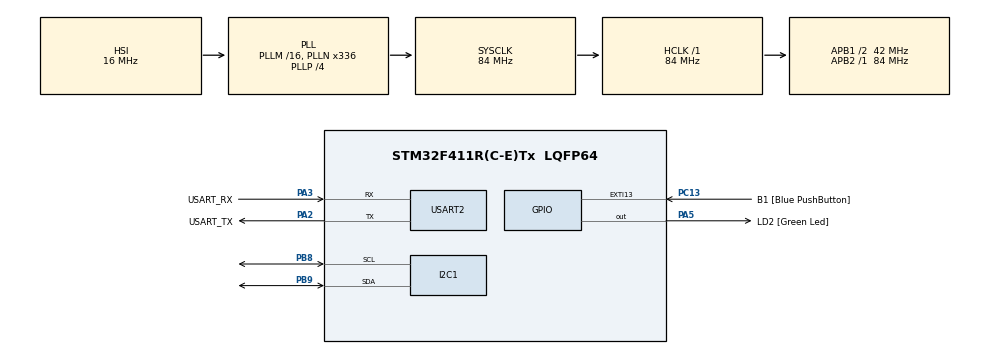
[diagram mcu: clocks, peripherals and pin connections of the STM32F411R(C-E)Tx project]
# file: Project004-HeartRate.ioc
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Mcu.Family=STM32F4
Mcu.Name=STM32F411R(C-E)Tx
Mcu.Package=LQFP64
NVIC.PriorityGroup=NVIC_PRIORITYGROUP_0
PA13.GPIO_Label=TMS
PA13.Mode=Serial_Wire
PA13.Signal=SYS_JTMS-SWDIO
PA14.GPIO_Label=TCK
PA14.Mode=Serial_Wire
PA14.Signal=SYS_JTCK-SWCLK
PA2.GPIO_Label=USART_TX
PA2.Mode=Asynchronous
PA2.Signal=USART2_TX
PA3.GPIO_Label=USART_RX
PA3.Mode=Asynchronous
PA3.Signal=USART2_RX
PA5.GPIO_Label=LD2 [Green Led]
PA5.Signal=GPIO_Output
PB3.GPIO_Label=SWO
PB3.Signal=SYS_JTDO-SWO
PB8.GPIO_Pu=GPIO_PULLUP
PB8.Mode=I2C
PB8.Signal=I2C1_SCL
PB9.GPIO_Pu=GPIO_PULLUP
PB9.Mode=I2C
PB9.Signal=I2C1_SDA
PC13-ANTI_TAMP.GPIO_Label=B1 [Blue PushButton]
PC13-ANTI_TAMP.GPIO_ModeDefaultEXTI=GPIO_MODE_IT_FALLING
PC13-ANTI_TAMP.Signal=GPXTI13
PC14-OSC32_IN.Mode=LSE-External-Oscillator
PC14-OSC32_IN.Signal=RCC_OSC32_IN
PC15-OSC32_OUT.Mode=LSE-External-Oscillator
PC15-OSC32_OUT.Signal=RCC_OSC32_OUT
PH0\ -\ OSC_IN.Mode=HSE-External-Clock-Source
PH0\ -\ OSC_IN.Signal=RCC_OSC_IN
PH1\ -\ OSC_OUT.Mode=HSE-External-Clock-Source
PH1\ -\ OSC_OUT.Signal=RCC_OSC_OUT
ProjectManager.HeapSize=0x200
ProjectManager.StackSize=0x400
ProjectManager.TargetToolchain=STM32CubeIDE
RCC.48MHZClocksFreq_Value=84000000
RCC.AHBFreq_Value=84000000
RCC.APB1CLKDivider=RCC_HCLK_DIV2
RCC.APB1Freq_Value=42000000
RCC.APB1TimFreq_Value=84000000
RCC.APB2Freq_Value=84000000
RCC.APB2TimFreq_Value=84000000
RCC.CortexFreq_Value=84000000
RCC.FLatency-AdvancedSettings=FLASH_LATENCY_2
RCC.HCLKFreq_Value=84000000
RCC.HSE_VALUE=8000000
RCC.HSI_VALUE=16000000
RCC.PLLN=336
RCC.PLLP=RCC_PLLP_DIV4
RCC.SYSCLKFreq_VALUE=84000000
RCC.SYSCLKSource=RCC_SYSCLKSOURCE_PLLCLK
RCC.VCOOutputFreq_Value=336000000
USART2.VirtualMode=VM_ASYNC
board=NUCLEO-F411RE

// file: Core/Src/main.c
/* USER CODE BEGIN Header */
/**
  ******************************************************************************
  * @file           : main.c
  * @brief          : Main program body
  ******************************************************************************
  * @attention
  *
  * Copyright (c) 2025 STMicroelectronics.
  * All rights reserved.
  *
  * This software is licensed under terms that can be found in the LICENSE file
  * in the root directory of this software component.
  * If no LICENSE file comes with this software, it is provided AS-IS.
  *
  ******************************************************************************
  */
/* USER CODE END Header */
#include "main.h"

/* USER CODE BEGIN Includes */
#include "heartRate.h"
/* USER CODE END Includes */

I2C_HandleTypeDef hi2c1;

UART_HandleTypeDef huart2;

void SystemClock_Config(void);
static void MX_GPIO_Init(void);
static void MX_USART2_UART_Init(void);
static void MX_I2C1_Init(void);

/* USER CODE BEGIN 0 */
#define RATE_SIZE 10

uint16_t W_addr = 0xAE;
uint16_t R_addr = 0xAF;
uint8_t data;

void i2c_scan()
{
   for(int addr=0; addr<256; addr++)
   {
      if(HAL_I2C_IsDeviceReady(&hi2c1, addr, 1, 10 /* ms*/) == HAL_OK)
      {
         printf("  %02x ", addr);
      }
      else
      {
         printf("  .  ");
      }
      if((addr % 16) == 15)   printf("\r\n");
   }
}

void Moduleset()
{
    // Reset
    data = 0x40;
    HAL_I2C_Mem_Write(&hi2c1, W_addr, 0x09, 1, &data, 1, 1000);
    while(data & 0x40) {
    	HAL_I2C_Mem_Read(&hi2c1, R_addr, 0x09, 1, &data, 1, 1000);
    }
    HAL_Delay(10);

    // Interrupt Clear
    HAL_I2C_Mem_Read(&hi2c1, R_addr, 0x00, 1, &data, 1, 1000);
    HAL_I2C_Mem_Read(&hi2c1, R_addr, 0x01, 1, &data, 1, 1000);

    // Interrupt Enable
    data = 0x40;  //
    HAL_I2C_Mem_Write(&hi2c1, W_addr, 0x02, 1, &data, 1, 1000);
    HAL_Delay(10);

    // FIFO Pointer
    data = 0x00;
    HAL_I2C_Mem_Write(&hi2c1, W_addr, 0x04, 1, &data, 1, 1000);
    HAL_I2C_Mem_Write(&hi2c1, W_addr, 0x05, 1, &data, 1, 1000);
    HAL_I2C_Mem_Write(&hi2c1, W_addr, 0x06, 1, &data, 1, 1000);

    // FIFO Set
    data = 0x50;  //0b0101_0000 4 Sample Average: 4, RollOver Enable, Full Data Interrupt
    HAL_I2C_Mem_Write(&hi2c1, W_addr, 0x08, 1, &data, 1, 1000);
    HAL_Delay(10);

    // Mode Set
    data = 0x02;  // 0x01 : IR, 0x02 : RED, 0x03 : Multi
    HAL_I2C_Mem_Write(&hi2c1, W_addr, 0x09, 1, &data, 1, 1000);
    HAL_Delay(10);

    // Sampling Set - Sampling Rate : 50Hz, Pulse Width : 411μs
    data = 0x2F;  // 0b00101111
    HAL_I2C_Mem_Write(&hi2c1, W_addr, 0x0A, 1, &data, 1, 1000);
    HAL_Delay(10);

    // LED Current set
    data = 0x1F;  // MAX 50mA (0xFF) // 0x20: 14.2mA
    HAL_I2C_Mem_Write(&hi2c1, W_addr, 0x0C, 1, &data, 1, 1000);
    HAL_I2C_Mem_Write(&hi2c1, W_addr, 0x0D, 1, &data, 1, 1000);
    HAL_I2C_Mem_Write(&hi2c1, W_addr, 0x10, 1, &data, 1, 1000);
    HAL_Delay(10);

    // Slot Set
	data = 0x01;  // Slot1 : RED
	HAL_I2C_Mem_Write(&hi2c1, W_addr, 0x11, 1, &data, 1, 1000);
	HAL_Delay(10);

    // Part ID= 0x15
    HAL_I2C_Mem_Read(&hi2c1, W_addr, 0xFF, 1, &data, 1, 1000);
    printf("Part ID: 0x%02X\r\n", data);  // Default 0x15
}

int getIR() {
	uint8_t temp_dataBuffer[3];

	HAL_I2C_Mem_Read(&hi2c1, R_addr, 0x07, 1, temp_dataBuffer, 3, 1000);

	return (((uint32_t)temp_dataBuffer[0] << 16) | ((uint32_t)temp_dataBuffer[1] << 8) | (uint32_t)temp_dataBuffer[2]) & 0x03FFFF;
}

/* USER CODE END 0 */

int main(void)
{

  /* MCU Configuration--------------------------------------------------------*/

  /* Reset of all peripherals, Initializes the Flash interface and the Systick. */
  HAL_Init();

  /* Configure the system clock */
  SystemClock_Config();

  /* Initialize all configured peripherals */
  MX_GPIO_Init();
  MX_USART2_UART_Init();
  MX_I2C1_Init();
  /* USER CODE BEGIN 2 */
  ProgramStart("HeartRate Start!\r\n");
  i2c_scan();
  Moduleset();

  // LED Current set
  data = 0x0A;  // MAX 50mA (0xFF) // 0x20: 14.2mA
  HAL_I2C_Mem_Write(&hi2c1, W_addr, 0x0C, 1, &data, 1, 1000);

  /* USER CODE END 2 */

  /* Infinite loop */
  /* USER CODE BEGIN WHILE */
  int rates[RATE_SIZE] = {0, };
  int rateSpot = 0;
  double beatsPerMinute = 0;
  int beatAvg = 0;
  int lastBeat = 0;
  while (1)
  {
	  HAL_I2C_Mem_Read(&hi2c1, R_addr, 0x00, 1, &data, 1, 1000);
	  if(data & 0x40) {
		  int IRValue = getIR();

		  if(checkForBeat(IRValue)) {
			  int delta = HAL_GetTick() - lastBeat;
			  lastBeat = HAL_GetTick();

			  beatsPerMinute = 60 / (delta / 1000.0);

			  if ((beatsPerMinute < 255) && (beatsPerMinute > 20)) {
				rates[rateSpot++] = beatsPerMinute; //Store this reading in the array
				rateSpot %= RATE_SIZE; //Wrap variable

				//Take average of readings
				for (int x = 0 ; x < RATE_SIZE ; x++){
					beatAvg += rates[x];
				}
				beatAvg /= RATE_SIZE;
			  }
		  }
		  printf("IRValue: %5d, BPM: %5.2f, avg_BPM: %3d\r\n", IRValue, beatsPerMinute, beatAvg);
	  }
    /* USER CODE END WHILE */

  }
}

void SystemClock_Config(void)
{
  RCC_OscInitTypeDef RCC_OscInitStruct = {0};
  RCC_ClkInitTypeDef RCC_ClkInitStruct = {0};

  /** Configure the main internal regulator output voltage
  */
  __HAL_RCC_PWR_CLK_ENABLE();
  __HAL_PWR_VOLTAGESCALING_CONFIG(PWR_REGULATOR_VOLTAGE_SCALE1);

  /** Initializes the RCC Oscillators according to the specified parameters
  * in the RCC_OscInitTypeDef structure.
  */
  RCC_OscInitStruct.OscillatorType = RCC_OSCILLATORTYPE_HSI;
  RCC_OscInitStruct.HSIState = RCC_HSI_ON;
  RCC_OscInitStruct.HSICalibrationValue = RCC_HSICALIBRATION_DEFAULT;
  RCC_OscInitStruct.PLL.PLLState = RCC_PLL_ON;
  RCC_OscInitStruct.PLL.PLLSource = RCC_PLLSOURCE_HSI;
  RCC_OscInitStruct.PLL.PLLM = 16;
  RCC_OscInitStruct.PLL.PLLN = 336;
  RCC_OscInitStruct.PLL.PLLP = RCC_PLLP_DIV4;
  RCC_OscInitStruct.PLL.PLLQ = 4;
  if (HAL_RCC_OscConfig(&RCC_OscInitStruct) != HAL_OK)
  {
    Error_Handler();
  }

  /** Initializes the CPU, AHB and APB buses clocks
  */
  RCC_ClkInitStruct.ClockType = RCC_CLOCKTYPE_HCLK|RCC_CLOCKTYPE_SYSCLK
                              |RCC_CLOCKTYPE_PCLK1|RCC_CLOCKTYPE_PCLK2;
  RCC_ClkInitStruct.SYSCLKSource = RCC_SYSCLKSOURCE_PLLCLK;
  RCC_ClkInitStruct.AHBCLKDivider = RCC_SYSCLK_DIV1;
  RCC_ClkInitStruct.APB1CLKDivider = RCC_HCLK_DIV2;
  RCC_ClkInitStruct.APB2CLKDivider = RCC_HCLK_DIV1;

  if (HAL_RCC_ClockConfig(&RCC_ClkInitStruct, FLASH_LATENCY_2) != HAL_OK)
  {
    Error_Handler();
  }
}

static void MX_I2C1_Init(void)
{

  hi2c1.Instance = I2C1;
  hi2c1.Init.ClockSpeed = 100000;
  hi2c1.Init.DutyCycle = I2C_DUTYCYCLE_2;
  hi2c1.Init.OwnAddress1 = 0;
  hi2c1.Init.AddressingMode = I2C_ADDRESSINGMODE_7BIT;
  hi2c1.Init.DualAddressMode = I2C_DUALADDRESS_DISABLE;
  hi2c1.Init.OwnAddress2 = 0;
  hi2c1.Init.GeneralCallMode = I2C_GENERALCALL_DISABLE;
  hi2c1.Init.NoStretchMode = I2C_NOSTRETCH_DISABLE;
  if (HAL_I2C_Init(&hi2c1) != HAL_OK)
  {
    Error_Handler();
  }

}

static void MX_USART2_UART_Init(void)
{

  huart2.Instance = USART2;
  huart2.Init.BaudRate = 115200;
  huart2.Init.WordLength = UART_WORDLENGTH_8B;
  huart2.Init.StopBits = UART_STOPBITS_1;
  huart2.Init.Parity = UART_PARITY_NONE;
  huart2.Init.Mode = UART_MODE_TX_RX;
  huart2.Init.HwFlowCtl = UART_HWCONTROL_NONE;
  huart2.Init.OverSampling = UART_OVERSAMPLING_16;
  if (HAL_UART_Init(&huart2) != HAL_OK)
  {
    Error_Handler();
  }

}

static void MX_GPIO_Init(void)
{
  GPIO_InitTypeDef GPIO_InitStruct = {0};

  /* GPIO Ports Clock Enable */
  __HAL_RCC_GPIOC_CLK_ENABLE();
  __HAL_RCC_GPIOH_CLK_ENABLE();
  __HAL_RCC_GPIOA_CLK_ENABLE();
  __HAL_RCC_GPIOB_CLK_ENABLE();

  /*Configure GPIO pin Output Level */
  HAL_GPIO_WritePin(LD2_GPIO_Port, LD2_Pin, GPIO_PIN_RESET);

  /*Configure GPIO pin : B1_Pin */
  GPIO_InitStruct.Pin = B1_Pin;
  GPIO_InitStruct.Mode = GPIO_MODE_IT_FALLING;
  GPIO_InitStruct.Pull = GPIO_NOPULL;
  HAL_GPIO_Init(B1_GPIO_Port, &GPIO_InitStruct);

  /*Configure GPIO pin : LD2_Pin */
  GPIO_InitStruct.Pin = LD2_Pin;
  GPIO_InitStruct.Mode = GPIO_MODE_OUTPUT_PP;
  GPIO_InitStruct.Pull = GPIO_NOPULL;
  GPIO_InitStruct.Speed = GPIO_SPEED_FREQ_LOW;
  HAL_GPIO_Init(LD2_GPIO_Port, &GPIO_InitStruct);

}

void Error_Handler(void)
{
  __disable_irq();
  while (1)
  {
  }
}
